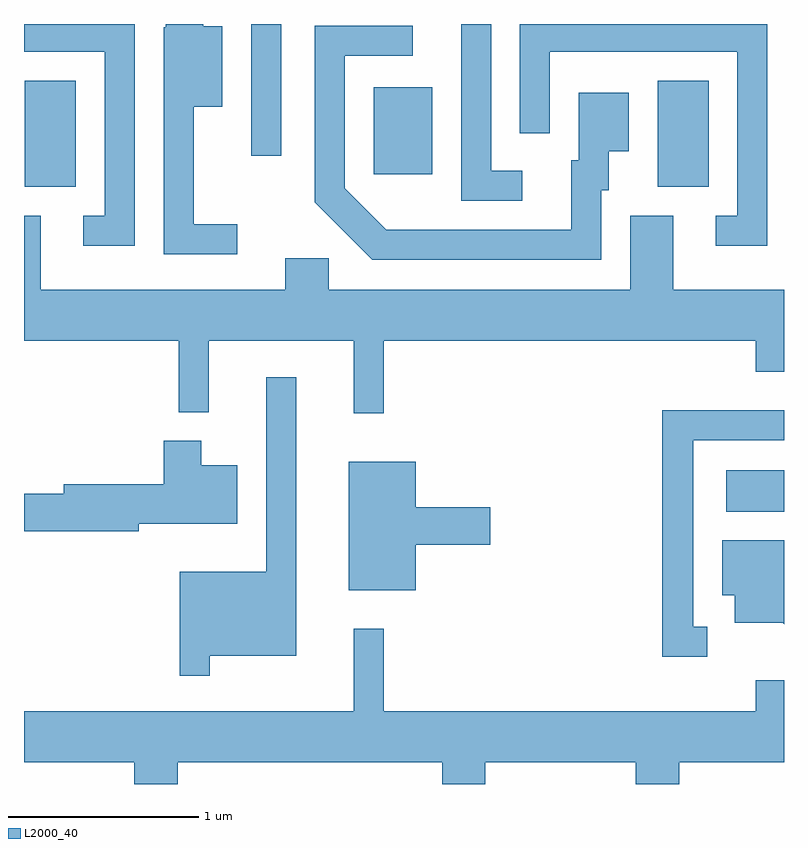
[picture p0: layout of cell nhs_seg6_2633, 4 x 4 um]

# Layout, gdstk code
import gdstk
lib = gdstk.Library(unit=1e-6, precision=1e-09)
def R(c, l, rs):  # rectangles x0, y0, x1, y1
    for r in rs: c.add(gdstk.rectangle(r[:2], r[2:], *l))
def P(c, l, *ps):  # polygons
    for p in ps: c.add(gdstk.Polygon(p, *l))
L2000_40 = (2000, 40)

nhs_seg6_2633 = lib.new_cell('nhs_seg6_2633')
R(nhs_seg6_2633, L2000_40, [(269.306,1533.596,269.611,1533.814), (265.616,1535.306,265.884,1535.864), (268.946,1535.306,269.214,1535.864), (267.451,1535.371,267.759,1535.829), (266.806,1535.468,266.964,1536.162)])
P(nhs_seg6_2633, L2000_40, [(269.524,1536.162),(268.221,1536.162),(268.221,1535.588),(268.379,1535.588),(268.379,1536.016),(269.366,1536.016),(269.366,1535.154),(269.253,1535.154),(269.253,1534.996),(269.524,1534.996)],
  [(268.233,1535.389),(268.069,1535.389),(268.069,1536.162),(267.911,1536.162),(267.911,1535.231),(268.233,1535.231)],
  [(266.194,1536.162),(265.611,1536.162),(265.611,1536.016),(266.036,1536.016),(266.036,1535.154),(265.923,1535.154),(265.923,1534.996),(266.194,1534.996)],
  [(266.733,1535.109),(266.504,1535.109),(266.504,1535.726),(266.654,1535.726),(266.654,1536.149),(266.554,1536.149),(266.554,1536.162),(266.356,1536.162),(266.356,1536.145),(266.346,1536.145),(266.346,1534.951),(266.733,1534.951)],
  [(268.649,1535.286),(268.689,1535.286),(268.689,1535.491),(268.794,1535.491),(268.794,1535.799),(268.531,1535.799),(268.531,1535.444),(268.491,1535.444),(268.491,1535.079),(267.517,1535.079),(267.299,1535.297),(267.299,1535.996),(267.658,1535.996),(267.658,1536.154),(267.141,1536.154),(267.141,1535.224),(267.444,1534.921),(268.649,1534.921)],
  [(267.504,1534.496),(269.461,1534.496),(269.461,1534.331),(269.611,1534.331),(269.611,1534.764),(269.029,1534.764),(269.029,1535.154),(268.801,1535.154),(268.801,1534.764),(267.214,1534.764),(267.214,1534.929),(266.986,1534.929),(266.986,1534.764),(265.699,1534.764),(265.699,1535.154),(265.611,1535.154),(265.611,1534.496),(266.426,1534.496),(266.426,1534.118),(266.584,1534.118),(266.584,1534.496),(267.346,1534.496),(267.346,1534.113),(267.504,1534.113)],
  [(266.589,1532.836),(267.044,1532.836),(267.044,1534.303),(266.886,1534.303),(266.886,1533.279),(266.431,1533.279),(266.431,1532.733),(266.589,1532.733)],
  [(269.208,1532.989),(269.134,1532.989),(269.134,1533.971),(269.611,1533.971),(269.611,1534.129),(268.971,1534.129),(268.971,1532.831),(269.208,1532.831)],
  [(266.214,1533.531),(266.734,1533.531),(266.734,1533.839),(266.544,1533.839),(266.544,1533.969),(266.346,1533.969),(266.346,1533.739),(265.821,1533.739),(265.821,1533.689),(265.611,1533.689),(265.611,1533.491),(266.214,1533.491)],
  [(267.674,1533.421),(268.064,1533.421),(268.064,1533.619),(267.674,1533.619),(267.674,1533.859),(267.321,1533.859),(267.321,1533.181),(267.674,1533.181)],
  [(269.611,1533.444),(269.286,1533.444),(269.286,1533.156),(269.351,1533.156),(269.351,1533.011),(269.604,1533.011),(269.611,1533.004)],
  [(266.419,1532.276),(267.811,1532.276),(267.811,1532.162),(268.039,1532.162),(268.039,1532.276),(268.831,1532.276),(268.831,1532.162),(269.059,1532.162),(269.059,1532.276),(269.611,1532.276),(269.611,1532.709),(269.461,1532.709),(269.461,1532.544),(267.504,1532.544),(267.504,1532.978),(267.346,1532.978),(267.346,1532.544),(265.611,1532.544),(265.611,1532.276),(266.191,1532.276),(266.191,1532.162),(266.419,1532.162)])

lib.write_gds('nhs_seg6_2633.gds')
